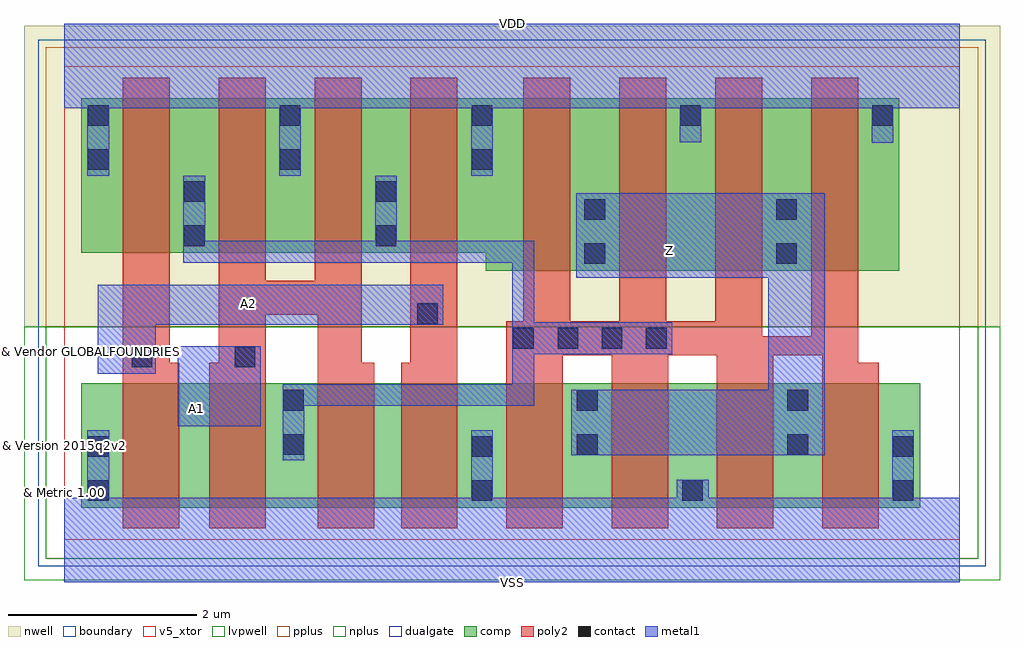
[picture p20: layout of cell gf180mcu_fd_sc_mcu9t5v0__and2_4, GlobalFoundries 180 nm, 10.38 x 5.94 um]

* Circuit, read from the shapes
.subckt gf180mcu_fd_sc_mcu9t5v0__and2_4 A1 A2 VDD VSS Z
XM1 n1 A2 VSS VSUBS nfet_05v0 w=1.32u l=0.6u
XM2 n2 A1 n1 VSUBS nfet_05v0 w=1.32u l=0.6u
XM3 n3 A1 n2 VSUBS nfet_05v0 w=1.32u l=0.6u
XM4 VSS A2 n3 VSUBS nfet_05v0 w=1.32u l=0.6u
XM5 Z n2 VSS VSUBS nfet_05v0 w=1.32u l=0.6u m=4
XM6 n2 A2 VDD n4 pfet_05v0 w=1.64u l=0.5u m=2
XM7 VDD A1 n2 n4 pfet_05v0 w=1.64u l=0.5u m=2
XM8 Z n2 VDD n4 pfet_05v0 w=1.83u l=0.5u m=4
.ends

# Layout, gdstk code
import gdstk
lib = gdstk.Library(unit=1e-6, precision=1e-09)
def R(c, l, rs):  # rectangles x0, y0, x1, y1
    for r in rs: c.add(gdstk.rectangle(r[:2], r[2:], *l))
def A(c, l, x, y, w, h, nx, ny, dx, dy):  # array of equal rectangles
    R(c, l, [(x+i*dx, y+j*dy, x+i*dx+w, y+j*dy+h) for i in range(nx) for j in range(ny)])
def P(c, l, *ps):  # polygons
    for p in ps: c.add(gdstk.Polygon(p, *l))
boundary = (0, 0)
nwell = (21, 0)
comp = (22, 0)
poly2 = (30, 0)
pplus = (31, 0)
nplus = (32, 0)
contact = (33, 0)
metal1 = (34, 0)
dualgate = (55, 0)
v5_xtor = (112, 1)
lvpwell = (204, 0)

gf180mcu_fd_sc_mcu9t5v0_ = lib.new_cell('gf180mcu_fd_sc_mcu9t5v0__and2_4')
R(gf180mcu_fd_sc_mcu9t5v0_, boundary, [(0,0,9.52,5.04)])
R(gf180mcu_fd_sc_mcu9t5v0_, nwell, [(-0.43,2.265,9.95,5.47)])
R(gf180mcu_fd_sc_mcu9t5v0_, comp, [(0.18,0.345,9.1,1.665)])
P(gf180mcu_fd_sc_mcu9t5v0_, comp, [(4.48,2.865),(4.48,3.055),(0.18,3.055),(0.18,4.695),(8.88,4.695),(8.88,2.865)])
P(gf180mcu_fd_sc_mcu9t5v0_, poly2, [(0.62,0.125),(0.62,4.915),(1.12,4.915),(1.12,1.885),(1.22,1.885),(1.22,0.125)],
  [(1.54,0.125),(1.54,1.885),(1.64,1.885),(1.64,4.915),(2.14,4.915),(2.14,2.755),(2.66,2.755),(2.66,4.915),(3.16,4.915),(3.16,1.885),(3.295,1.885),(3.295,0.125),(2.695,0.125),(2.695,2.395),(2.14,2.395),(2.14,0.125)],
  [(3.58,0.125),(3.58,1.885),(3.68,1.885),(3.68,4.915),(4.18,4.915),(4.18,0.125)],
  [(4.7,0.125),(4.7,2.325),(4.88,2.325),(4.88,4.915),(5.38,4.915),(5.38,2.325),(5.9,2.325),(5.9,4.915),(6.4,4.915),(6.4,2.325),(6.92,2.325),(6.92,4.915),(7.42,4.915),(7.42,2.165),(7.94,2.165),(7.94,4.915),(8.44,4.915),(8.44,1.885),(8.66,1.885),(8.66,0.125),(8.06,0.125),(8.06,1.965),(7.54,1.965),(7.54,0.125),(6.94,0.125),(6.94,1.965),(6.42,1.965),(6.42,0.125),(5.82,0.125),(5.82,1.965),(5.3,1.965),(5.3,0.125)])
R(gf180mcu_fd_sc_mcu9t5v0_, pplus, [(-0.2,2.265,9.72,5.24)])
R(gf180mcu_fd_sc_mcu9t5v0_, nplus, [(-0.2,-0.2,9.72,2.265)])
A(gf180mcu_fd_sc_mcu9t5v0_, contact, 4.33, 0.415, 0.22, 0.22, 3, 1, 2.24, 0)
A(gf180mcu_fd_sc_mcu9t5v0_, contact, 5.245, 2.035, 0.22, 0.22, 3, 1, 0.47, 0)
A(gf180mcu_fd_sc_mcu9t5v0_, contact, 0.25, 3.935, 0.22, 0.22, 3, 2, 2.04, 0.47)
R(gf180mcu_fd_sc_mcu9t5v0_, contact, [(0.25,0.415,0.47,0.635), (0.25,0.885,0.47,1.105), (4.33,0.885,4.55,1.105), (8.81,0.885,9.03,1.105), (2.325,0.905,2.545,1.125), (5.45,0.905,5.67,1.125), (7.69,0.905,7.91,1.125), (2.325,1.375,2.545,1.595), (5.45,1.375,5.67,1.595), (7.69,1.375,7.91,1.595), (0.715,1.835,0.935,2.055), (1.81,1.835,2.03,2.055), (4.77,2.035,4.99,2.255), (3.75,2.295,3.97,2.515), (5.53,2.935,5.75,3.155), (7.57,2.935,7.79,3.155), (1.27,3.125,1.49,3.345), (3.31,3.125,3.53,3.345), (5.53,3.405,5.75,3.625), (7.57,3.405,7.79,3.625), (1.27,3.595,1.49,3.815), (3.31,3.595,3.53,3.815), (6.55,4.405,6.77,4.625), (8.59,4.405,8.81,4.625)])
R(gf180mcu_fd_sc_mcu9t5v0_, metal1, [(1.205,1.21,2.09,2.06)])
P(gf180mcu_fd_sc_mcu9t5v0_, metal1, [(0.355,1.77),(0.355,2.715),(4.03,2.715),(4.03,2.29),(0.97,2.29),(0.97,1.77)],
  [(2.32,0.845),(2.32,1.655),(4.765,1.655),(4.765,2.95),(1.265,2.95),(1.265,3.875),(1.495,3.875),(1.495,3.18),(3.305,3.18),(3.305,3.875),(3.535,3.875),(3.535,3.18),(4.995,3.18),(4.995,2.315),(6.465,2.315),(6.465,1.975),(4.995,1.975),(4.995,1.425),(2.55,1.425),(2.55,0.845)],
  [(5.39,0.9),(5.39,1.6),(7.485,1.6),(7.485,2.79),(5.445,2.79),(5.445,3.685),(8.085,3.685),(8.085,0.9)],
  [(0,-0.45),(0,0.45),(0.245,0.45),(0.245,1.165),(0.475,1.165),(0.475,0.45),(4.325,0.45),(4.325,1.165),(4.555,1.165),(4.555,0.45),(6.51,0.45),(6.51,0.64),(6.85,0.64),(6.85,0.45),(8.805,0.45),(8.805,1.165),(9.035,1.165),(9.035,0.45),(9.52,0.45),(9.52,-0.45)],
  [(0.245,3.875),(0.245,4.59),(0,4.59),(0,5.49),(9.52,5.49),(9.52,4.59),(8.815,4.59),(8.815,4.225),(8.585,4.225),(8.585,4.59),(6.775,4.59),(6.775,4.23),(6.545,4.23),(6.545,4.59),(4.555,4.59),(4.555,3.875),(4.325,3.875),(4.325,4.59),(2.515,4.59),(2.515,3.875),(2.285,3.875),(2.285,4.59),(0.475,4.59),(0.475,3.875)])
R(gf180mcu_fd_sc_mcu9t5v0_, dualgate, [(-0.28,-0.28,9.8,5.32)])
R(gf180mcu_fd_sc_mcu9t5v0_, v5_xtor, [(0,0,9.52,5.04)])
R(gf180mcu_fd_sc_mcu9t5v0_, lvpwell, [(-0.43,-0.43,9.95,2.265)])
gf180mcu_fd_sc_mcu9t5v0_.add(gdstk.Label('A1', (1.4,1.4), layer=34, texttype=10))
gf180mcu_fd_sc_mcu9t5v0_.add(gdstk.Label('A2', (1.96,2.52), layer=34, texttype=10))
gf180mcu_fd_sc_mcu9t5v0_.add(gdstk.Label('VDD', (4.76,5.49), layer=34, texttype=10))
gf180mcu_fd_sc_mcu9t5v0_.add(gdstk.Label('VSS', (4.76,-0.45), layer=34, texttype=10))
gf180mcu_fd_sc_mcu9t5v0_.add(gdstk.Label('Z', (6.44,3.08), layer=34, texttype=10))
gf180mcu_fd_sc_mcu9t5v0_.add(gdstk.Label('& Vendor GLOBALFOUNDRIES', (0,2), layer=63, texttype=63))
gf180mcu_fd_sc_mcu9t5v0_.add(gdstk.Label('& Product GF018hv5v_green_sc9', (0,1.5), layer=63, texttype=63))
gf180mcu_fd_sc_mcu9t5v0_.add(gdstk.Label('& Version 2015q2v2', (0,1), layer=63, texttype=63))
gf180mcu_fd_sc_mcu9t5v0_.add(gdstk.Label('& Metric 1.00', (0,0.5), layer=63, texttype=63))

lib.write_gds('gf180mcu_fd_sc_mcu9t5v0__and2_4.gds')
